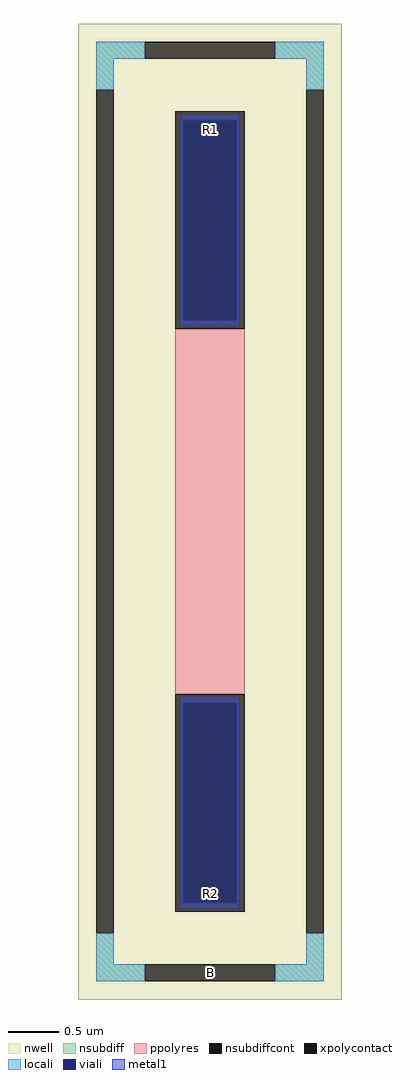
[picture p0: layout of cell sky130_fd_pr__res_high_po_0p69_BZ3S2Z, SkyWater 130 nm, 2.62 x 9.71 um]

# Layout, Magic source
magic
tech sky130A
magscale 1 2
<< nwell >>
rect -262 -971 262 971
<< nsubdiff >>
rect -226 901 -130 935
rect 130 901 226 935
rect -226 839 -192 901
rect 192 839 226 901
rect -226 -901 -192 -839
rect 192 -901 226 -839
rect -226 -935 -130 -901
rect 130 -935 226 -901
<< nsubdiffcont >>
rect -130 901 130 935
rect -226 -839 -192 839
rect 192 -839 226 839
rect -130 -935 130 -901
<< xpolycontact >>
rect -69 364 69 796
rect -69 -796 69 -364
<< ppolyres >>
rect -69 -364 69 364
<< locali >>
rect -226 901 -130 935
rect 130 901 226 935
rect -226 839 -192 901
rect 192 839 226 901
rect -226 -901 -192 -839
rect 192 -901 226 -839
rect -226 -935 -130 -901
rect 130 -935 226 -901
<< viali >>
rect -53 381 53 778
rect -53 -778 53 -381
<< metal1 >>
rect -59 778 59 790
rect -59 381 -53 778
rect 53 381 59 778
rect -59 369 59 381
rect -59 -381 59 -369
rect -59 -778 -53 -381
rect 53 -778 59 -381
rect -59 -790 59 -778
<< labels >>
rlabel nsubdiffcont 0 -918 0 -918 0 B
port 1 nsew
rlabel xpolycontact 0 761 0 761 0 R1
port 2 nsew
rlabel xpolycontact 0 -761 0 -761 0 R2
port 3 nsew
<< properties >>
string FIXED_BBOX -209 -918 209 918
string gencell sky130_fd_pr__res_high_po_0p69
string library sky130
string parameters w 0.690 l 3.8 m 1 nx 1 wmin 0.690 lmin 0.50 class resistor rho 319.8 val 2.325k dummy 0 dw 0.0 term 194.82 sterm 0.0 caplen 0 guard 1 glc 1 grc 1 gtc 1 gbc 1 compatible {sky130_fd_pr__res_high_po_0p35  sky130_fd_pr__res_high_po_0p69 sky130_fd_pr__res_high_po_1p41  sky130_fd_pr__res_high_po_2p85 sky130_fd_pr__res_high_po_5p73} snake 0 full_metal 1 wmax 0.690 n_guard 1 hv_guard 0 vias 1 viagb 0 viagt 0 viagl 0 viagr 0 doports 1
<< end >>
